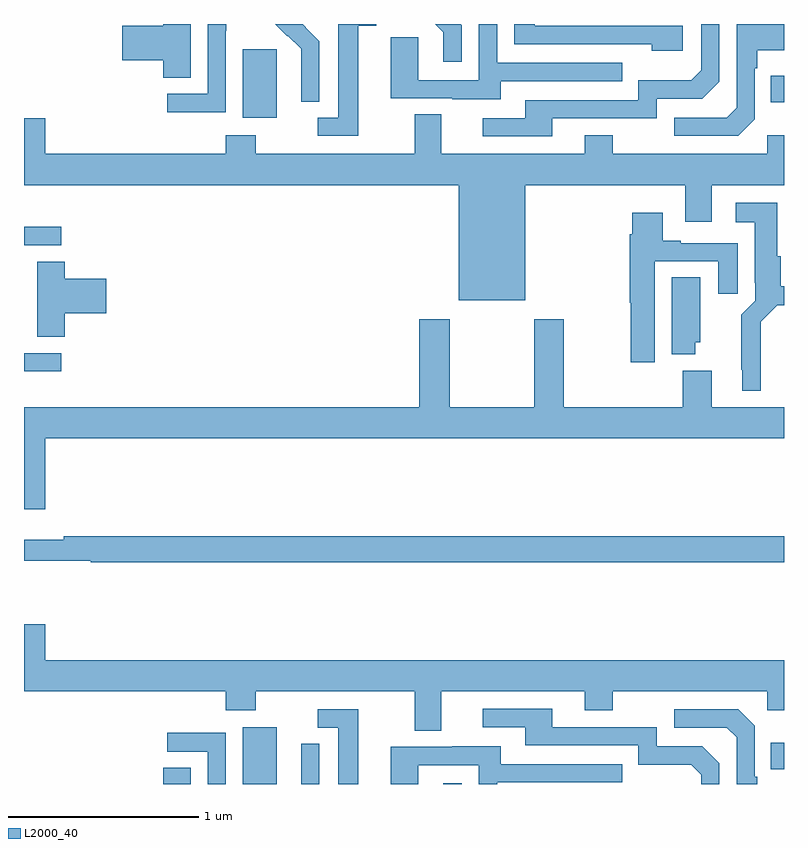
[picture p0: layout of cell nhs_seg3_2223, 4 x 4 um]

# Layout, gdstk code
import gdstk
lib = gdstk.Library(unit=1e-6, precision=1e-09)
def R(c, l, rs):  # rectangles x0, y0, x1, y1
    for r in rs: c.add(gdstk.rectangle(r[:2], r[2:], *l))
def P(c, l, *ps):  # polygons
    for p in ps: c.add(gdstk.Polygon(p, *l))
L2000_40 = (2000, 40)

nhs_seg3_2223 = lib.new_cell('nhs_seg3_2223')
R(nhs_seg3_2223, L2000_40, [(225.734,728.4,225.877,728.486), (226.151,728.4,226.33,728.698), (227.207,728.4,227.304,728.404), (228.931,728.477,229,728.617), (225,730.572,225.196,730.668), (225,731.235,225.196,731.334), (226.151,731.906,226.33,732.267), (228.931,731.987,229,732.127)])
P(nhs_seg3_2223, L2000_40, [(227.304,732.394),(227.298,732.4),(227.164,732.4),(227.207,732.357),(227.207,732.201),(227.304,732.201)],
  [(228.846,731.898),(228.846,732.167),(228.859,732.167),(228.859,732.263),(229,732.263),(229,732.4),(228.75,732.4),(228.75,731.958),(228.699,731.907),(228.423,731.907),(228.423,731.811),(228.759,731.811)],
  [(226.062,732.364),(226.065,732.364),(226.065,732.4),(225.966,732.4),(225.966,732.033),(225.753,732.033),(225.753,731.935),(226.062,731.935)],
  [(226.554,732.31),(226.481,732.383),(226.482,732.384),(226.466,732.4),(226.322,732.4),(226.386,732.336),(226.389,732.339),(226.46,732.269),(226.46,732.146),(226.458,732.146),(226.458,731.992),(226.554,731.992)],
  [(228.466,732.39),(227.689,732.39),(227.689,732.4),(227.58,732.4),(227.58,732.294),(228.305,732.294),(228.305,732.26),(228.466,732.26)],
  [(227.779,731.904),(228.33,731.904),(228.33,732.006),(228.57,732.006),(228.66,732.096),(228.66,732.4),(228.564,732.4),(228.564,732.156),(228.511,732.103),(228.234,732.103),(228.234,732),(227.639,732),(227.639,731.904),(227.415,731.904),(227.415,731.808),(227.779,731.808)],
  [(225.877,732.4),(225.734,732.4),(225.734,732.392),(225.516,732.392),(225.516,732.209),(225.734,732.209),(225.734,732.118),(225.877,732.118)],
  [(227.509,732.099),(228.149,732.099),(228.149,732.195),(227.49,732.195),(227.49,732.4),(227.394,732.4),(227.394,732.105),(227.076,732.105),(227.076,732.329),(226.931,732.329),(226.931,732.009),(227.255,732.009),(227.255,732.005),(227.509,732.005)],
  [(226.759,732.392),(226.855,732.392),(226.855,732.4),(226.655,732.4),(226.655,731.907),(226.545,731.907),(226.545,731.811),(226.759,731.811)],
  [(227.638,731.552),(228.479,731.552),(228.479,731.358),(228.619,731.358),(228.619,731.552),(229,731.552),(229,731.815),(228.912,731.815),(228.912,731.716),(228.099,731.716),(228.099,731.815),(227.951,731.815),(227.951,731.716),(227.197,731.716),(227.197,731.924),(227.057,731.924),(227.057,731.716),(226.221,731.716),(226.221,731.815),(226.061,731.815),(226.061,731.716),(225.112,731.716),(225.112,731.905),(225,731.905),(225,731.552),(227.288,731.552),(227.288,730.946),(227.638,730.946)],
  [(228.877,730.832),(228.964,730.92),(229,730.92),(229,731.021),(228.982,731.021),(228.982,731.178),(228.964,731.178),(228.964,731.458),(228.747,731.458),(228.747,731.357),(228.845,731.357),(228.845,731.038),(228.849,731.038),(228.849,730.944),(228.775,730.87),(228.775,730.579),(228.779,730.579),(228.779,730.469),(228.877,730.469)],
  [(228.319,731.151),(228.653,731.151),(228.653,730.98),(228.757,730.98),(228.757,731.247),(228.457,731.247),(228.457,731.26),(228.361,731.26),(228.361,731.407),(228.2,731.407),(228.2,731.294),(228.188,731.294),(228.188,730.932),(228.193,730.932),(228.193,730.62),(228.319,730.62)],
  [(225.215,730.877),(225.433,730.877),(225.433,731.06),(225.215,731.06),(225.215,731.15),(225.071,731.15),(225.071,730.753),(225.215,730.753)],
  [(228.532,730.725),(228.559,730.725),(228.559,731.066),(228.41,731.066),(228.41,730.661),(228.532,730.661)],
  [(229,730.384),(228.619,730.384),(228.619,730.576),(228.467,730.576),(228.467,730.384),(227.841,730.384),(227.841,730.846),(227.686,730.846),(227.686,730.384),(227.241,730.384),(227.241,730.846),(227.081,730.846),(227.081,730.384),(225,730.384),(225,729.846),(225.112,729.846),(225.112,730.22),(229,730.22)],
  [(229,729.704),(225.208,729.704),(225.208,729.685),(225,729.685),(225,729.576),(225.35,729.576),(225.35,729.568),(229,729.568)],
  [(227.197,728.888),(227.951,728.888),(227.951,728.789),(228.099,728.789),(228.099,728.888),(228.912,728.888),(228.912,728.789),(229,728.789),(229,729.052),(225.112,729.052),(225.112,729.241),(225,729.241),(225,728.888),(226.061,728.888),(226.061,728.789),(226.221,728.789),(226.221,728.888),(227.057,728.888),(227.057,728.68),(227.197,728.68)],
  [(228.66,728.508),(228.57,728.598),(228.33,728.598),(228.33,728.7),(227.779,728.7),(227.779,728.796),(227.415,728.796),(227.415,728.7),(227.639,728.7),(227.639,728.604),(228.234,728.604),(228.234,728.501),(228.511,728.501),(228.564,728.448),(228.564,728.4),(228.66,728.4)],
  [(226.759,728.793),(226.545,728.793),(226.545,728.697),(226.655,728.697),(226.655,728.4),(226.759,728.4)],
  [(228.859,728.437),(228.846,728.437),(228.846,728.706),(228.759,728.793),(228.423,728.793),(228.423,728.697),(228.699,728.697),(228.75,728.646),(228.75,728.4),(228.859,728.4)],
  [(226.062,728.67),(225.753,728.67),(225.753,728.571),(225.966,728.571),(225.966,728.4),(226.062,728.4)],
  [(226.554,728.612),(226.458,728.612),(226.458,728.458),(226.46,728.458),(226.46,728.4),(226.554,728.4)],
  [(227.076,728.499),(227.394,728.499),(227.394,728.4),(227.49,728.4),(227.49,728.409),(228.149,728.409),(228.149,728.505),(227.509,728.505),(227.509,728.599),(227.255,728.599),(227.255,728.595),(226.931,728.595),(226.931,728.4),(227.076,728.4)])

lib.write_gds('nhs_seg3_2223.gds')
